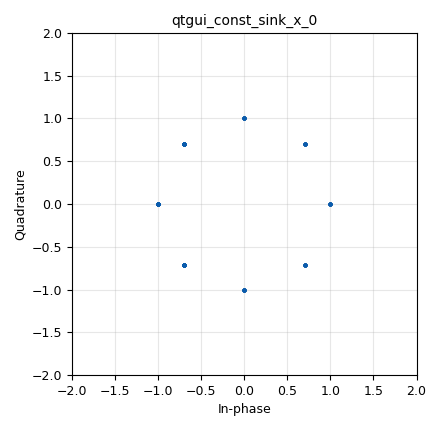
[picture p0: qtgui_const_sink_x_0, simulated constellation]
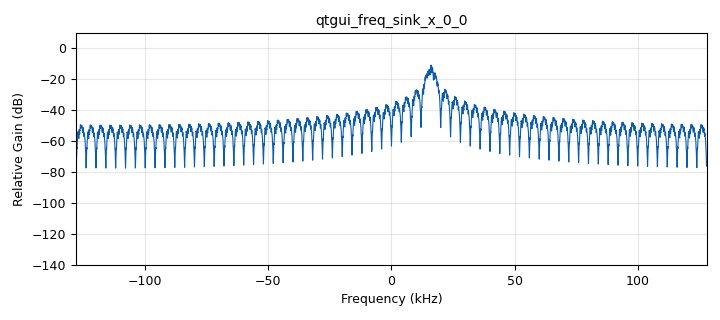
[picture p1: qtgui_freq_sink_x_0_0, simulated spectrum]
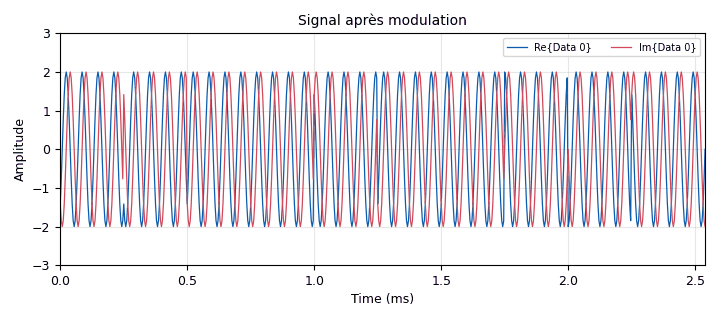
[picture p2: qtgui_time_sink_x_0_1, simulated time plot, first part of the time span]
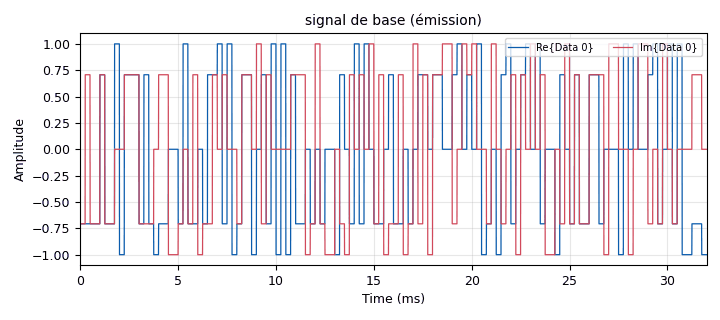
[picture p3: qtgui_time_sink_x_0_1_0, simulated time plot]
options:
  parameters:
    generate_options: qt_gui
    id: PSK8_entree_aleatoire
    output_language: python
    title: Not titled yet
  states: {}

blocks:
- name: Fc
  id: variable
  parameters:
    value: '16000'
  states: {}
- name: Fs
  id: variable
  parameters:
    value: 4 * Fc
  states: {}
- name: Rb
  id: variable
  parameters:
    value: '12000'
  states: {}
- name: samp_rate
  id: variable
  parameters:
    value: '256000'
  states: {}
- name: symbol_rate
  id: variable
  parameters:
    value: Rb / 3
  states: {}
- name: analog_random_source_x_0
  id: analog_random_source_x
  parameters:
    max: '8'
    min: '0'
    num_samps: '1024'
    repeat: 'True'
    type: byte
  states: {}
- name: analog_sig_source_x_0
  id: analog_sig_source_x
  parameters:
    amp: '2'
    freq: Fc
    offset: '0'
    phase: '0'
    samp_rate: samp_rate
    type: complex
    waveform: analog.GR_COS_WAVE
  states: {}
- name: blocks_multiply_xx_0_1
  id: blocks_multiply_xx
  parameters:
    type: complex
  states: {}
- name: blocks_repeat_0
  id: blocks_repeat
  parameters:
    interp: int(samp_rate/symbol_rate)
    type: complex
  states: {}
- name: blocks_throttle2_0_0_1
  id: blocks_throttle2
  parameters:
    samples_per_second: samp_rate
    type: complex
  states: {}
- name: epy_block_1
  id: epy_block
  parameters:
    _source_code: |
      import numpy as np
      from gnuradio import gr

      class blk(gr.sync_block):
          def __init__(self):
              gr.sync_block.__init__(
                  self,
                  name='Mapping 8PSK',
                  in_sig=[np.uint8],
                  out_sig=[np.complex64]
              )
              c = np.sqrt(0.5)   # cos(45 deg) = sin(45 deg) = 0.7071
              # 8 points sur le cercle unite, pas de 45 deg, code de Gray
              self.dico = {
                  0: 1+0j,        # 000 :   0 deg
                  1: c+1j*c,      # 001 :  45 deg
                  3: 0+1j,        # 011 :  90 deg
                  2: -c+1j*c,     # 010 : 135 deg
                  6: -1+0j,       # 110 : 180 deg
                  7: -c-1j*c,     # 111 : 225 deg
                  5: 0-1j,        # 101 : 270 deg
                  4: c-1j*c       # 100 : 315 deg
              }

          def work(self, input_items, output_items):
              symboles = input_items[0]
              out = output_items[0]

              for i, s in enumerate(symboles):
                  out[i] = self.dico[int(s)]

              return len(out)
  states: {}
- name: note_0
  id: note
  parameters:
    note: 4 périodes par symbole
  states: {}
- name: note_0_0
  id: note
  parameters:
    note: symbol_rate < Fc*2
  states: {}
- name: note_0_0_0
  id: note
  parameters:
    note: Rb = log2(2^M) * symbol_rate
  states: {}
- name: note_0_2
  id: note
  parameters:
    note: Fs > 2 * Fc
  states: {}
- name: osmosdr_sink_0
  id: osmosdr_sink
  parameters:
    bb_gain0: '20'
    freq0: 10e6
    gain0: '10'
    if_gain0: '20'
    sample_rate: samp_rate
    sync: sync
    type: fc32
  states: {state: disabled}
- name: qtgui_const_sink_x_0
  id: qtgui_const_sink_x
  parameters:
    size: '1024'
    type: complex
  states: {}
- name: qtgui_freq_sink_x_0_0
  id: qtgui_freq_sink_x
  parameters:
    average: '0.05'
    bw: samp_rate
    fc: '0'
    fftsize: '4096'
    norm_window: 'True'
    showports: 'True'
    type: complex
  states: {}
- name: qtgui_time_sink_x_0_1
  id: qtgui_time_sink_x
  parameters:
    name: Signal après modulation
    size: '8192'
    srate: samp_rate
    type: complex
    ymax: '3'
    ymin: '-3'
  states: {}
- name: qtgui_time_sink_x_0_1_0
  id: qtgui_time_sink_x
  parameters:
    autoscale: 'True'
    name: signal de base (émission)
    size: '8192'
    srate: samp_rate
    type: complex
    update_time: '1'
    ymax: '2'
    ymin: '-2'
  states: {}

connections:
- [analog_random_source_x_0, '0', epy_block_1, '0']
- [analog_sig_source_x_0, '0', blocks_multiply_xx_0_1, '0']
- [blocks_multiply_xx_0_1, '0', qtgui_time_sink_x_0_1, '0']
- [epy_block_1, '0', blocks_repeat_0, '0']
- [blocks_repeat_0, '0', blocks_throttle2_0_0_1, '0']
- [blocks_throttle2_0_0_1, '0', blocks_multiply_xx_0_1, '1']
- [blocks_throttle2_0_0_1, '0', qtgui_const_sink_x_0, '0']
- [blocks_throttle2_0_0_1, '0', qtgui_time_sink_x_0_1_0, '0']
- [blocks_multiply_xx_0_1, '0', qtgui_freq_sink_x_0_0, '0']

metadata:
  file_format: 1
  grc_version: 3.10.12.0
